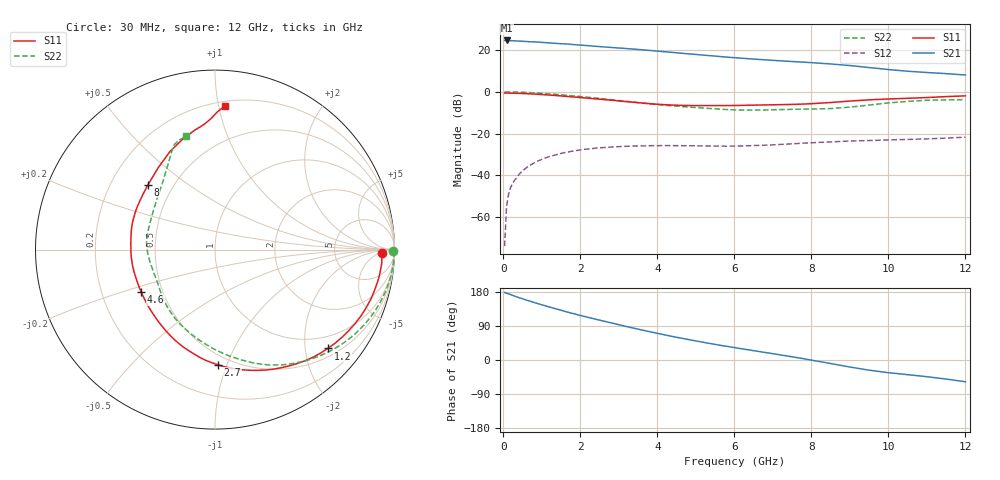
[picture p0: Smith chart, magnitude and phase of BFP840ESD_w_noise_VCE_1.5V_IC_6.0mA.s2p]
! Infineon Technologies  Discrete & RF Semiconductors
! BFP840ESD
! VCE =  1.5 V,  IC =  6.0 mA
! Common Emitter S-Parameters:  May 2012
# GHz  S  MA  R  50
!  f  S11  S21  S12  S22
! GHz  MAG  ANG  MAG  ANG  MAG  ANG  MAG  ANG
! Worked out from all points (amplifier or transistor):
!   93 points, 30 MHz to 12 GHz, reference 50 ohm
!   highest |S21| = 24.6 dB at 80 MHz (marker M1)
!   |S21| within 3 dB of that: start of sweep to 2.54 GHz
!   unconditionally stable (mu >= 1): start of sweep to 30.95 MHz; 5.879 GHz to 10.24 GHz
!   at 1.1 GHz: K = 0.20, MSG = 27.6 dB, |S12| = -31.6 dB
!   at 4.2 GHz: K = 0.66, MSG = 22.5 dB, |S12| = -25.8 dB
!   at 12 GHz: K = 0.71, MSG = 14.9 dB, |S12| = -21.7 dB
!   lowest NFmin = 0.65 dB at 450 MHz
!   S11 on the Smith chart (normalised r, x): 30 MHz: 27, -7; 1.2 GHz: 0.68, -2.50; 2.7 GHz: 0.43, -0.93; 4.6 GHz: 0.38, -0.23; 8 GHz: 0.36, +0.36; 12 GHz: 0.23, +1.04
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0.03  0.9328 -1.1  16.97 178.1  0.0002 14.9  0.9943 -0.6
0.08  0.9311 -2.8  17.03 176.3  0.0018 73.1  0.9969 -2.3
0.23  0.9281 -8.2  16.77 170.9  0.0062 82.9  0.9927 -7.0
0.43  0.916 -15.1  16.39 163.7  0.0111 79.2  0.9803 -12.9
0.6  0.9025 -21.0  16.04 158.0  0.0153 74.3  0.9654 -17.9
0.9  0.8713 -31.2  15.56 148.6  0.0221 67.1  0.9324 -26.4
1.2  0.8358 -41.2  14.87 139.6  0.0282 59.8  0.8927 -34.7
1.6  0.7821 -54.3  14.11 128.2  0.0351 51.7  0.8331 -45.1
2.1  0.7158 -70.0  12.98 115.0  0.0419 42.0  0.7567 -57.6
2.7  0.6419 -88.6  11.74 100.3  0.0468 32.5  0.6637 -71.7
3.3  0.5713 -107.9  10.71 85.9  0.05 24.4  0.5768 -86.1
3.7  0.5301 -120.8  9.983 76.9  0.0507 20.4  0.5273 -96.1
4.1  0.4971 -134.1  9.276 68.2  0.0515 16.6  0.4867 -106.5
4.6  0.4738 -150.2  8.449 58.0  0.0513 12.6  0.4461 -119.0
5.3  0.4679 -169.9  7.44 44.7  0.0503 9.9  0.402 -134.8
6.1  0.472 172.7  6.478 31.2  0.0504 10.0  0.3678 -152.3
7  0.4889 156.0  5.679 16.6  0.0537 10.2  0.3709 -172.5
8  0.5196 135.8  5.003 -0.3  0.0602 7.9  0.3873 165.9
8.5  0.5547 124.9  4.654 -9.3  0.0631 5.9  0.3973 153.0
9.5  0.6429 106.0  3.819 -26.8  0.0681 0.5  0.4818 126.7
10.5  0.6995 95.1  3.115 -38.7  0.0722 -4.2  0.5905 114.4
12  0.8005 86.2  2.531 -57.4  0.0819 -10.0  0.6514 104.3
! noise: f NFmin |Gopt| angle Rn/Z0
0.45  0.65  0.45  1  0.16
0.9  0.65  0.45  5  0.16
1.5  0.68  0.45  14  0.14
1.9  0.7  0.43  17  0.13
2.4  0.71  0.38  29  0.14
3.5  0.74  0.27  57  0.11
5.5  0.84  0.18  122  0.09
8  1.01  0.33  -142  0.08
10  1.17  0.49  -99  0.16
12  1.39  0.59  -77  0.26
